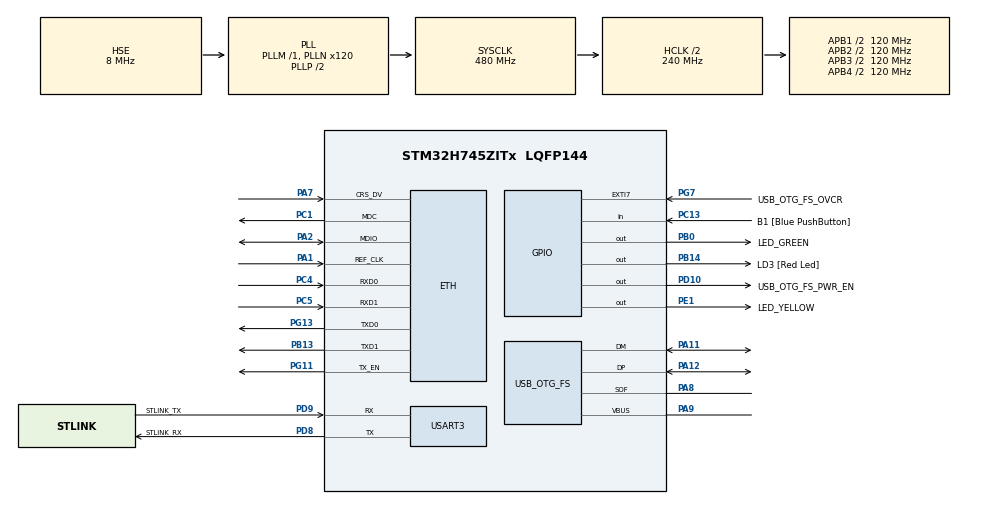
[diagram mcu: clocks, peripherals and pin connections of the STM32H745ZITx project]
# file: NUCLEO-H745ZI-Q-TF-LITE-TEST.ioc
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CortexM4.IPs=FATFS_M4\:I,FREERTOS_M4\:I,IWDG2\:I,RCC,WWDG2\:I,DMA,BDMA,MDMA,NVIC2\:I,USART3,ETH,DEBUG,USB_DEVICE_M4\:I,USB_HOST_M4\:I,PDM2PCM_M4\:I,PWR,RESMGR_UTILITY,SYS_M4\:I,CORTEX_M4\:I,OPENAMP_M4\:I,VREFBUF
CortexM4.Pins=PE1
CortexM7.IPs=FATFS_M7\:I,FREERTOS_M7\:I,IWDG1\:I,RCC\:I,WWDG1\:I,DMA\:I,BDMA\:I,MDMA\:I,NVIC1\:I,SYS\:I,USART3\:I,USB_OTG_FS\:I,ETH\:I,CORTEX_M7\:I,DEBUG\:I,USB_DEVICE_M7\:I,USB_HOST_M7\:I,PDM2PCM_M7\:I,PWR\:I,RESMGR_UTILITY\:I,OPENAMP_M7\:I,VREFBUF\:I,TIM16\:I
CortexM7.Pins=PB0
ETH.MediaInterface=HAL_ETH_RMII_MODE
Mcu.Family=STM32H7
Mcu.Name=STM32H745ZITx
Mcu.Package=LQFP144
NVIC1.PriorityGroup=NVIC_PRIORITYGROUP_4
NVIC2.PriorityGroup=NVIC_PRIORITYGROUP_4
PA1.Mode=RMII
PA1.PinAttribute=CortexM7
PA1.Signal=ETH_REF_CLK
PA11.Mode=Device_Only
PA11.PinAttribute=CortexM7
PA11.Signal=USB_OTG_FS_DM
PA12.Mode=Device_Only
PA12.PinAttribute=CortexM7
PA12.Signal=USB_OTG_FS_DP
PA2.Mode=RMII
PA2.PinAttribute=CortexM7
PA2.Signal=ETH_MDIO
PA7.Mode=RMII
PA7.PinAttribute=CortexM7
PA7.Signal=ETH_CRS_DV
PA8.Mode=Activate_SOF_FS
PA8.PinAttribute=CortexM7
PA8.Signal=USB_OTG_FS_SOF
PA9.Mode=Activate_VBUS
PA9.PinAttribute=CortexM7
PA9.Signal=USB_OTG_FS_VBUS
PB0.GPIO_Label=LED_GREEN
PB0.PinAttribute=CortexM7
PB0.Signal=GPIO_Output
PB13.Mode=RMII
PB13.PinAttribute=CortexM7
PB13.Signal=ETH_TXD1
PB14.GPIO_Label=LD3 [Red Led]
PB14.PinAttribute=Free
PB14.Signal=GPIO_Output
PC1.Mode=RMII
PC1.PinAttribute=CortexM7
PC1.Signal=ETH_MDC
PC13.GPIO_Label=B1 [Blue PushButton]
PC13.PinAttribute=Free
PC13.Signal=GPIO_Input
PC14-OSC32_IN\ (OSC32_IN).Mode=LSE-External-Oscillator
PC14-OSC32_IN\ (OSC32_IN).PinAttribute=CortexM7
PC14-OSC32_IN\ (OSC32_IN).Signal=RCC_OSC32_IN
PC15-OSC32_OUT\ (OSC32_OUT).Mode=LSE-External-Oscillator
PC15-OSC32_OUT\ (OSC32_OUT).PinAttribute=CortexM7
PC15-OSC32_OUT\ (OSC32_OUT).Signal=RCC_OSC32_OUT
PC4.Mode=RMII
PC4.PinAttribute=CortexM7
PC4.Signal=ETH_RXD0
PC5.Mode=RMII
PC5.PinAttribute=CortexM7
PC5.Signal=ETH_RXD1
PD10.GPIO_Label=USB_OTG_FS_PWR_EN
PD10.PinAttribute=Free
PD10.Signal=GPIO_Output
PD8.GPIO_Label=STLINK_RX
PD8.Mode=Asynchronous
PD8.PinAttribute=CortexM7
PD8.Signal=USART3_TX
PD9.GPIO_Label=STLINK_TX
PD9.Mode=Asynchronous
PD9.PinAttribute=CortexM7
PD9.Signal=USART3_RX
PE1.GPIO_Label=LED_YELLOW
PE1.PinAttribute=CortexM4
PE1.Signal=GPIO_Output
PG11.Mode=RMII
PG11.PinAttribute=CortexM7
PG11.Signal=ETH_TX_EN
PG13.Mode=RMII
PG13.PinAttribute=CortexM7
PG13.Signal=ETH_TXD0
PG7.GPIO_Label=USB_OTG_FS_OVCR
PG7.PinAttribute=Free
PG7.Signal=GPXTI7
PH0-OSC_IN\ (PH0).Mode=HSE-External-Clock-Source
PH0-OSC_IN\ (PH0).PinAttribute=CortexM7
PH0-OSC_IN\ (PH0).Signal=RCC_OSC_IN
PH1-OSC_OUT\ (PH1).PinAttribute=CortexM7
PH1-OSC_OUT\ (PH1).Signal=RCC_OSC_OUT
ProjectManager.HeapSize=M4-0x200,M7-0x200
ProjectManager.StackSize=M4-0x400,M7-0x400
ProjectManager.TargetToolchain=STM32CubeIDE
RCC.ADCFreq_Value=16125000
RCC.APB1Freq_Value=120000000
RCC.APB2Freq_Value=120000000
RCC.APB3Freq_Value=120000000
RCC.APB4Freq_Value=120000000
RCC.CortexFreq_Value=480000000
RCC.D1PPRE=RCC_APB3_DIV2
RCC.D2PPRE1=RCC_APB1_DIV2
RCC.D2PPRE2=RCC_APB2_DIV2
RCC.D3PPRE=RCC_APB4_DIV2
RCC.DIVM1=1
RCC.DIVM3=1
RCC.DIVN1=120
RCC.DIVN3=24
RCC.DIVQ3=4
RCC.HCLKFreq_Value=240000000
RCC.HPRE=RCC_HCLK_DIV2
RCC.HSE_VALUE=8000000
RCC.PLL2FRACN=0
RCC.PLL3FRACN=0
RCC.PLLFRACN=0
RCC.SYSCLKFreq_VALUE=480000000
RCC.SYSCLKSource=RCC_SYSCLKSOURCE_PLLCLK
RCC.SupplySource=PWR_DIRECT_SMPS_SUPPLY
RCC.USBCLockSelection=RCC_USBCLKSOURCE_PLL3
RCC.USBFreq_Value=48000000
TIM16.Prescaler=240-1
USART3.VirtualMode-Asynchronous=VM_ASYNC
USB_OTG_FS.VirtualMode=Device_Only
VP_SYS_M4_VS_Systick.Mode=SysTick
VP_TIM16_VS_ClockSourceINT.Mode=Enable_Timer
board=NUCLEO-H745ZI-Q

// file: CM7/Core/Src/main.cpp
/* USER CODE BEGIN Header */
/**
  ******************************************************************************
  * @file           : main.c
  * @brief          : Main program body
  ******************************************************************************
  * @attention
  *
  * <h2><center>&copy; Copyright (c) 2021 STMicroelectronics.
  * All rights reserved.</center></h2>
  *
  * This software component is licensed by ST under BSD 3-Clause license,
  * the "License"; You may not use this file except in compliance with the
  * License. You may obtain a copy of the License at:
  *                        opensource.org/licenses/BSD-3-Clause
  *
  ******************************************************************************
  */
/* USER CODE END Header */
#include "main.h"
#include "string.h"

/* USER CODE BEGIN Includes */
#include "string.h"

#include "tensorflow/lite/micro/all_ops_resolver.h"
#include "tensorflow/lite/micro/micro_error_reporter.h"
#include "tensorflow/lite/micro/micro_interpreter.h"
#include "tensorflow/lite/schema/schema_generated.h"

#include "model.h"

/* USER CODE END Includes */

/* USER CODE BEGIN PD */

#ifndef HSEM_ID_0
#define HSEM_ID_0 (0U) /* HW semaphore 0*/
#endif
/* USER CODE END PD */

#if defined ( __ICCARM__ ) /*!< IAR Compiler */

#pragma location=0x30040000
ETH_DMADescTypeDef  DMARxDscrTab[ETH_RX_DESC_CNT]; /* Ethernet Rx DMA Descriptors */
#pragma location=0x30040060
ETH_DMADescTypeDef  DMATxDscrTab[ETH_TX_DESC_CNT]; /* Ethernet Tx DMA Descriptors */
#pragma location=0x30040200
uint8_t Rx_Buff[ETH_RX_DESC_CNT][ETH_MAX_PACKET_SIZE]; /* Ethernet Receive Buffers */

#elif defined ( __CC_ARM )  /* MDK ARM Compiler */

__attribute__((at(0x30040000))) ETH_DMADescTypeDef  DMARxDscrTab[ETH_RX_DESC_CNT]; /* Ethernet Rx DMA Descriptors */
__attribute__((at(0x30040060))) ETH_DMADescTypeDef  DMATxDscrTab[ETH_TX_DESC_CNT]; /* Ethernet Tx DMA Descriptors */
__attribute__((at(0x30040200))) uint8_t Rx_Buff[ETH_RX_DESC_CNT][ETH_MAX_PACKET_SIZE]; /* Ethernet Receive Buffer */

#elif defined ( __GNUC__ ) /* GNU Compiler */

ETH_DMADescTypeDef DMARxDscrTab[ETH_RX_DESC_CNT] __attribute__((section(".RxDecripSection"))); /* Ethernet Rx DMA Descriptors */
ETH_DMADescTypeDef DMATxDscrTab[ETH_TX_DESC_CNT] __attribute__((section(".TxDecripSection")));   /* Ethernet Tx DMA Descriptors */
uint8_t Rx_Buff[ETH_RX_DESC_CNT][ETH_MAX_PACKET_SIZE] __attribute__((section(".RxArraySection"))); /* Ethernet Receive Buffers */

#endif

ETH_TxPacketConfig TxConfig;

ETH_HandleTypeDef heth;

TIM_HandleTypeDef htim16;

UART_HandleTypeDef huart3;

PCD_HandleTypeDef hpcd_USB_OTG_FS;

void SystemClock_Config(void);
static void MX_GPIO_Init(void);
static void MX_ETH_Init(void);
static void MX_USART3_UART_Init(void);
static void MX_USB_OTG_FS_PCD_Init(void);
static void MX_TIM16_Init(void);

/* USER CODE BEGIN 0 */

// TF Lite Globals
namespace {
	tflite::ErrorReporter* error_reporter = nullptr;
	const tflite::Model* tflite_model = nullptr;
	tflite::MicroInterpreter* interpreter = nullptr;
	TfLiteTensor* model_input = nullptr;
	TfLiteTensor* model_output = nullptr;

	constexpr int kTensorArenaSize = 2 * 1024;
	__attribute__((aligned(16)))uint8_t tensor_arena[kTensorArenaSize];
}  // namespace

/* USER CODE END 0 */

int main(void)
{
/* USER CODE BEGIN Boot_Mode_Sequence_0 */
  int32_t timeout;
/* USER CODE END Boot_Mode_Sequence_0 */

/* USER CODE BEGIN Boot_Mode_Sequence_1 */
  /* Wait until CPU2 boots and enters in stop mode or timeout*/
  timeout = 0xFFFF;
  while((__HAL_RCC_GET_FLAG(RCC_FLAG_D2CKRDY) != RESET) && (timeout-- > 0));
  if ( timeout < 0 )
  {
	  Error_Handler();
  }
/* USER CODE END Boot_Mode_Sequence_1 */
  /* MCU Configuration--------------------------------------------------------*/

  /* Reset of all peripherals, Initializes the Flash interface and the Systick. */
  HAL_Init();

  /* Configure the system clock */
  SystemClock_Config();
/* USER CODE BEGIN Boot_Mode_Sequence_2 */
/* When system initialization is finished, Cortex-M7 will release Cortex-M4 by means of
HSEM notification */
/*HW semaphore Clock enable*/
__HAL_RCC_HSEM_CLK_ENABLE();
/*Take HSEM */
HAL_HSEM_FastTake(HSEM_ID_0);
/*Release HSEM in order to notify the CPU2(CM4)*/
HAL_HSEM_Release(HSEM_ID_0,0);
/* wait until CPU2 wakes up from stop mode */
timeout = 0xFFFF;
while((__HAL_RCC_GET_FLAG(RCC_FLAG_D2CKRDY) == RESET) && (timeout-- > 0));
if ( timeout < 0 )
{
	Error_Handler();
}
/* USER CODE END Boot_Mode_Sequence_2 */

  /* Initialize all configured peripherals */
  MX_GPIO_Init();
  MX_ETH_Init();
  MX_USART3_UART_Init();
  MX_USB_OTG_FS_PCD_Init();
  MX_TIM16_Init();
  /* USER CODE BEGIN 2 */

	// index to iterate through main loop
	int idx = 0;

	// buffer for text
	char buf[1000];
	int buf_len = 0;

	// set timer variable and start timer
	uint32_t time_stamp;
	uint32_t time_stamp_last;
	uint32_t time_val;
	HAL_TIM_Base_Start(&htim16);

	// IO variables
	float in_val;
	float predicted_out;
	float actual_out;

	TfLiteStatus tflite_status;
	uint32_t num_elements;

	// Set up logging (modify tensorflow/lite/micro/debug_log.cc)
	static tflite::MicroErrorReporter micro_error_reporter;
	error_reporter = &micro_error_reporter;

	// Say something to test error reporter
	error_reporter->Report("\n\nSTM32 TensorFlow Lite test\n");

	// Load the model
	tflite_model = tflite::GetModel(model);
	if (tflite_model->version() != TFLITE_SCHEMA_VERSION)
	{
	  error_reporter->Report("Model version does not match Schema");
	  while(1);
	}

	// tflite::AllOpsResolver resolver;
	tflite::MicroMutableOpResolver<3> micro_op_resolver;
	micro_op_resolver.AddQuantize();
	micro_op_resolver.AddFullyConnected();
	micro_op_resolver.AddDequantize();

	// Build an interpreter to run the model with.
	static tflite::MicroInterpreter static_interpreter(
		tflite_model, micro_op_resolver, tensor_arena, kTensorArenaSize, error_reporter);
	interpreter = &static_interpreter;

	// Allocate memory from the tensor_arena for the model's tensors.
	tflite_status = interpreter->AllocateTensors();
	if (tflite_status != kTfLiteOk)
	{
	  error_reporter->Report("AllocateTensors() failed");
	  while(1);
	}

	// Assign model input and output buffers (tensors) to pointers
	model_input = interpreter->input(0);
	model_output = interpreter->output(0);

	// Get number of elements in input tensor
	num_elements = model_input->bytes / sizeof(float);
	buf_len = sprintf(buf, "Number of input elements: %lu\r\n", num_elements);
	HAL_UART_Transmit(&huart3, (uint8_t *)buf, buf_len, 100);

  /* USER CODE END 2 */

  /* Infinite loop */
  /* USER CODE BEGIN WHILE */
  while (1)
  {
	// Calculate input
	in_val = ((idx++)%16)*M_PI*0.125;

	// Calculate real output
	actual_out = sin(in_val);

	// Get current timestamp
	time_stamp_last = __HAL_TIM_GET_COUNTER(&htim16);

	// Fill input buffer (use test value)
	for(uint32_t i = 0; i < num_elements; i++)
	{
		model_input->data.f[i] = in_val;
	}

	// Run inference
	tflite_status = interpreter->Invoke();
	if (tflite_status != kTfLiteOk)
	{
		error_reporter->Report("Invoke failed");
	}

	// Read output (predicted y) of neural network
	predicted_out = model_output->data.f[0];

	// calculate inference time in micro seconds
	time_stamp = __HAL_TIM_GET_COUNTER(&htim16);
	time_val = (time_stamp_last>time_stamp) ? htim16.Init.Period-time_stamp_last+time_stamp : time_stamp-time_stamp_last;

	// Print output of neural network
	buf_len = sprintf(buf, "in_val: %f | predicted_out: %f | actual_out: %f | Inference Time: %lu us\r\n", in_val, predicted_out, actual_out, time_val);
	HAL_UART_Transmit(&huart3, (uint8_t *)buf, buf_len, 100);

	// toggle LED
	HAL_GPIO_TogglePin(LED_GREEN_GPIO_Port, LED_GREEN_Pin);

	// wait a second
	HAL_Delay(1000);

    /* USER CODE END WHILE */

  }
}

void SystemClock_Config(void)
{
  RCC_OscInitTypeDef RCC_OscInitStruct = {0};
  RCC_ClkInitTypeDef RCC_ClkInitStruct = {0};

  /** Supply configuration update enable
  */
  HAL_PWREx_ConfigSupply(PWR_DIRECT_SMPS_SUPPLY);
  /** Configure the main internal regulator output voltage
  */
  __HAL_PWR_VOLTAGESCALING_CONFIG(PWR_REGULATOR_VOLTAGE_SCALE0);

  while(!__HAL_PWR_GET_FLAG(PWR_FLAG_VOSRDY)) {}
  /** Macro to configure the PLL clock source
  */
  __HAL_RCC_PLL_PLLSOURCE_CONFIG(RCC_PLLSOURCE_HSE);
  /** Initializes the RCC Oscillators according to the specified parameters
  * in the RCC_OscInitTypeDef structure.
  */
  RCC_OscInitStruct.OscillatorType = RCC_OSCILLATORTYPE_HSE;
  RCC_OscInitStruct.HSEState = RCC_HSE_BYPASS;
  RCC_OscInitStruct.PLL.PLLState = RCC_PLL_ON;
  RCC_OscInitStruct.PLL.PLLSource = RCC_PLLSOURCE_HSE;
  RCC_OscInitStruct.PLL.PLLM = 1;
  RCC_OscInitStruct.PLL.PLLN = 120;
  RCC_OscInitStruct.PLL.PLLP = 2;
  RCC_OscInitStruct.PLL.PLLQ = 2;
  RCC_OscInitStruct.PLL.PLLR = 2;
  RCC_OscInitStruct.PLL.PLLRGE = RCC_PLL1VCIRANGE_3;
  RCC_OscInitStruct.PLL.PLLVCOSEL = RCC_PLL1VCOWIDE;
  RCC_OscInitStruct.PLL.PLLFRACN = 0;
  if (HAL_RCC_OscConfig(&RCC_OscInitStruct) != HAL_OK)
  {
    Error_Handler();
  }
  /** Initializes the CPU, AHB and APB buses clocks
  */
  RCC_ClkInitStruct.ClockType = RCC_CLOCKTYPE_HCLK|RCC_CLOCKTYPE_SYSCLK
                              |RCC_CLOCKTYPE_PCLK1|RCC_CLOCKTYPE_PCLK2
                              |RCC_CLOCKTYPE_D3PCLK1|RCC_CLOCKTYPE_D1PCLK1;
  RCC_ClkInitStruct.SYSCLKSource = RCC_SYSCLKSOURCE_PLLCLK;
  RCC_ClkInitStruct.SYSCLKDivider = RCC_SYSCLK_DIV1;
  RCC_ClkInitStruct.AHBCLKDivider = RCC_HCLK_DIV2;
  RCC_ClkInitStruct.APB3CLKDivider = RCC_APB3_DIV2;
  RCC_ClkInitStruct.APB1CLKDivider = RCC_APB1_DIV2;
  RCC_ClkInitStruct.APB2CLKDivider = RCC_APB2_DIV2;
  RCC_ClkInitStruct.APB4CLKDivider = RCC_APB4_DIV2;

  if (HAL_RCC_ClockConfig(&RCC_ClkInitStruct, FLASH_LATENCY_4) != HAL_OK)
  {
    Error_Handler();
  }
}

static void MX_ETH_Init(void)
{

   static uint8_t MACAddr[6];

  heth.Instance = ETH;
  MACAddr[0] = 0x00;
  MACAddr[1] = 0x80;
  MACAddr[2] = 0xE1;
  MACAddr[3] = 0x00;
  MACAddr[4] = 0x00;
  MACAddr[5] = 0x00;
  heth.Init.MACAddr = &MACAddr[0];
  heth.Init.MediaInterface = HAL_ETH_RMII_MODE;
  heth.Init.TxDesc = DMATxDscrTab;
  heth.Init.RxDesc = DMARxDscrTab;
  heth.Init.RxBuffLen = 1524;

  if (HAL_ETH_Init(&heth) != HAL_OK)
  {
    Error_Handler();
  }

  memset(&TxConfig, 0 , sizeof(ETH_TxPacketConfig));
  TxConfig.Attributes = ETH_TX_PACKETS_FEATURES_CSUM | ETH_TX_PACKETS_FEATURES_CRCPAD;
  TxConfig.ChecksumCtrl = ETH_CHECKSUM_IPHDR_PAYLOAD_INSERT_PHDR_CALC;
  TxConfig.CRCPadCtrl = ETH_CRC_PAD_INSERT;

}

static void MX_TIM16_Init(void)
{

  htim16.Instance = TIM16;
  htim16.Init.Prescaler = 240-1;
  htim16.Init.CounterMode = TIM_COUNTERMODE_UP;
  htim16.Init.Period = 65535;
  htim16.Init.ClockDivision = TIM_CLOCKDIVISION_DIV1;
  htim16.Init.RepetitionCounter = 0;
  htim16.Init.AutoReloadPreload = TIM_AUTORELOAD_PRELOAD_DISABLE;
  if (HAL_TIM_Base_Init(&htim16) != HAL_OK)
  {
    Error_Handler();
  }

}

static void MX_USART3_UART_Init(void)
{

  huart3.Instance = USART3;
  huart3.Init.BaudRate = 115200;
  huart3.Init.WordLength = UART_WORDLENGTH_8B;
  huart3.Init.StopBits = UART_STOPBITS_1;
  huart3.Init.Parity = UART_PARITY_NONE;
  huart3.Init.Mode = UART_MODE_TX_RX;
  huart3.Init.HwFlowCtl = UART_HWCONTROL_NONE;
  huart3.Init.OverSampling = UART_OVERSAMPLING_16;
  huart3.Init.OneBitSampling = UART_ONE_BIT_SAMPLE_DISABLE;
  huart3.Init.ClockPrescaler = UART_PRESCALER_DIV1;
  huart3.AdvancedInit.AdvFeatureInit = UART_ADVFEATURE_NO_INIT;
  if (HAL_UART_Init(&huart3) != HAL_OK)
  {
    Error_Handler();
  }
  if (HAL_UARTEx_SetTxFifoThreshold(&huart3, UART_TXFIFO_THRESHOLD_1_8) != HAL_OK)
  {
    Error_Handler();
  }
  if (HAL_UARTEx_SetRxFifoThreshold(&huart3, UART_RXFIFO_THRESHOLD_1_8) != HAL_OK)
  {
    Error_Handler();
  }
  if (HAL_UARTEx_DisableFifoMode(&huart3) != HAL_OK)
  {
    Error_Handler();
  }

}

static void MX_USB_OTG_FS_PCD_Init(void)
{

  hpcd_USB_OTG_FS.Instance = USB_OTG_FS;
  hpcd_USB_OTG_FS.Init.dev_endpoints = 9;
  hpcd_USB_OTG_FS.Init.speed = PCD_SPEED_FULL;
  hpcd_USB_OTG_FS.Init.dma_enable = DISABLE;
  hpcd_USB_OTG_FS.Init.phy_itface = PCD_PHY_EMBEDDED;
  hpcd_USB_OTG_FS.Init.Sof_enable = DISABLE;
  hpcd_USB_OTG_FS.Init.low_power_enable = DISABLE;
  hpcd_USB_OTG_FS.Init.lpm_enable = DISABLE;
  hpcd_USB_OTG_FS.Init.battery_charging_enable = ENABLE;
  hpcd_USB_OTG_FS.Init.vbus_sensing_enable = ENABLE;
  hpcd_USB_OTG_FS.Init.use_dedicated_ep1 = DISABLE;
  if (HAL_PCD_Init(&hpcd_USB_OTG_FS) != HAL_OK)
  {
    Error_Handler();
  }

}

static void MX_GPIO_Init(void)
{
  GPIO_InitTypeDef GPIO_InitStruct = {0};

  /* GPIO Ports Clock Enable */
  __HAL_RCC_GPIOC_CLK_ENABLE();
  __HAL_RCC_GPIOH_CLK_ENABLE();
  __HAL_RCC_GPIOA_CLK_ENABLE();
  __HAL_RCC_GPIOB_CLK_ENABLE();
  __HAL_RCC_GPIOD_CLK_ENABLE();
  __HAL_RCC_GPIOG_CLK_ENABLE();

  /*Configure GPIO pin Output Level */
  HAL_GPIO_WritePin(LED_GREEN_GPIO_Port, LED_GREEN_Pin, GPIO_PIN_RESET);

  /*Configure GPIO pin : LED_GREEN_Pin */
  GPIO_InitStruct.Pin = LED_GREEN_Pin;
  GPIO_InitStruct.Mode = GPIO_MODE_OUTPUT_PP;
  GPIO_InitStruct.Pull = GPIO_NOPULL;
  GPIO_InitStruct.Speed = GPIO_SPEED_FREQ_LOW;
  HAL_GPIO_Init(LED_GREEN_GPIO_Port, &GPIO_InitStruct);

}

/* USER CODE BEGIN 4 */

// Custom implementation of DebugLog from TensorFlow
extern "C" void DebugLog(const char* s)
{
  HAL_UART_Transmit(&huart3, (uint8_t *)s, strlen(s), 100);
}

/* USER CODE END 4 */

void Error_Handler(void)
{
  __disable_irq();
  while (1)
  {
  }
}

/************************ (C) COPYRIGHT STMicroelectronics *****END OF FILE****/
